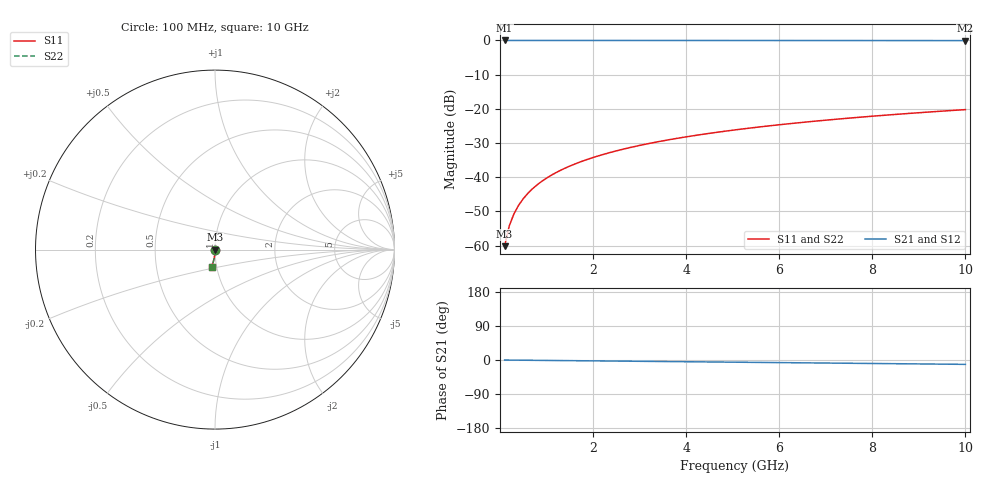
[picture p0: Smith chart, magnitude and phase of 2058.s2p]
# Hz S RI R 50.00
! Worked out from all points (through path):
!   100 points, 100 MHz to 10 GHz, reference 50 ohm
!   highest |S21| = 0.00 dB at 100 MHz (marker M1); lowest = 0.0 dB at 10 GHz (marker M2)
!   group delay of S21, straight-line fit = 3.2 ps
!   lowest |S11| = -60.2 dB at 100 MHz (marker M3), VSWR 1.00, Z = 50 - j0.0967 ohm
!   |S11| at or under -10 dB: start of sweep to end of sweep
!   |S22| runs from -60.2 to -20.2 dB; largest |S21 - S12| = 0
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1e8  0.000152 -0.000967  0.9998 -0.00198  0.9998 -0.00198  0.000152 -0.000967
2e8  0.000146 -0.00193  0.9998 -0.00396  0.9998 -0.00396  0.000146 -0.00193
3e8  0.000136 -0.0029  0.9998 -0.00594  0.9998 -0.00594  0.000136 -0.0029
4e8  0.000122 -0.00387  0.9998 -0.00793  0.9998 -0.00793  0.000122 -0.00387
5e8  0.000104 -0.00484  0.9998 -0.00991  0.9998 -0.00991  0.000104 -0.00484
6e8  8.16e-05 -0.0058  0.9997 -0.0119  0.9997 -0.0119  8.16e-05 -0.0058
7e8  5.57e-05 -0.00677  0.9997 -0.0139  0.9997 -0.0139  5.57e-05 -0.00677
8e8  2.59e-05 -0.00774  0.9997 -0.0159  0.9997 -0.0159  2.59e-05 -0.00774
9e8  -7.77e-06 -0.00871  0.9996 -0.0178  0.9996 -0.0178  -7.77e-06 -0.00871
1.1e9  -8.67e-05 -0.0106  0.9995 -0.0218  0.9995 -0.0218  -8.67e-05 -0.0106
1.4e9  -0.000234 -0.0136  0.9993 -0.0278  0.9993 -0.0278  -0.000234 -0.0136
1.8e9  -0.000485 -0.0174  0.999 -0.0357  0.999 -0.0357  -0.000485 -0.0174
2.1e9  -0.000714 -0.0203  0.9987 -0.0417  0.9987 -0.0417  -0.000714 -0.0203
2.5e9  -0.00107 -0.0242  0.9983 -0.0496  0.9983 -0.0496  -0.00107 -0.0242
2.9e9  -0.0015 -0.0281  0.9977 -0.0576  0.9977 -0.0576  -0.0015 -0.0281
3.4e9  -0.00211 -0.0329  0.997 -0.0675  0.997 -0.0675  -0.00211 -0.0329
4.2e9  -0.0033 -0.0407  0.9954 -0.0835  0.9954 -0.0835  -0.0033 -0.0407
5.1e9  -0.00494 -0.0494  0.9934 -0.1014  0.9934 -0.1014  -0.00494 -0.0494
5.9e9  -0.00667 -0.0571  0.9912 -0.1174  0.9912 -0.1174  -0.00667 -0.0571
6.7e9  -0.00864 -0.0647  0.9887 -0.1333  0.9887 -0.1333  -0.00864 -0.0647
8.4e9  -0.0137 -0.0807  0.9822 -0.167  0.9822 -0.167  -0.0137 -0.0807
1e10  -0.0194 -0.0954  0.9749 -0.1985  0.9749 -0.1985  -0.0194 -0.0954
